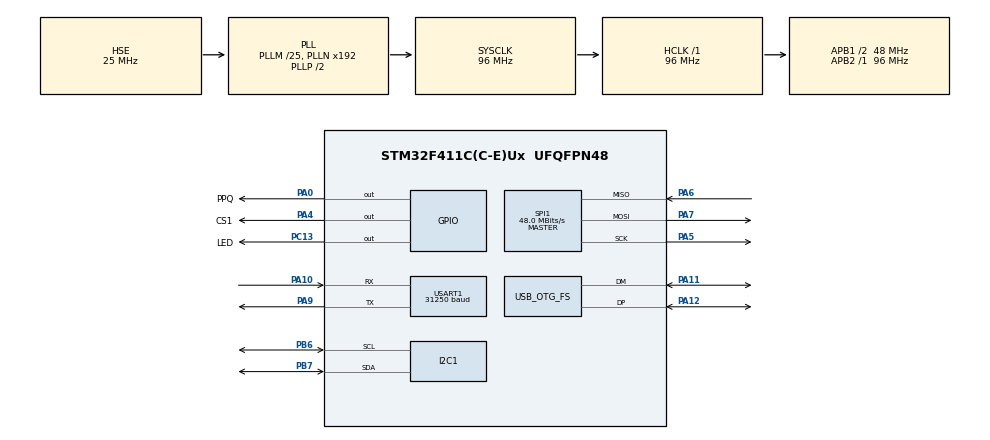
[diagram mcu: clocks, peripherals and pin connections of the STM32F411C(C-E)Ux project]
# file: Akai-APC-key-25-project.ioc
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Dma.Request0=SPI1_RX
Dma.Request1=SPI1_TX
Dma.SPI1_RX.0.Direction=DMA_PERIPH_TO_MEMORY
Dma.SPI1_RX.0.FIFOMode=DMA_FIFOMODE_DISABLE
Dma.SPI1_RX.0.Instance=DMA2_Stream0
Dma.SPI1_RX.0.MemDataAlignment=DMA_MDATAALIGN_BYTE
Dma.SPI1_RX.0.MemInc=DMA_MINC_ENABLE
Dma.SPI1_RX.0.Mode=DMA_CIRCULAR
Dma.SPI1_RX.0.PeriphDataAlignment=DMA_PDATAALIGN_BYTE
Dma.SPI1_RX.0.PeriphInc=DMA_PINC_DISABLE
Dma.SPI1_RX.0.Priority=DMA_PRIORITY_LOW
Dma.SPI1_TX.1.Direction=DMA_MEMORY_TO_PERIPH
Dma.SPI1_TX.1.FIFOMode=DMA_FIFOMODE_DISABLE
Dma.SPI1_TX.1.Instance=DMA2_Stream2
Dma.SPI1_TX.1.MemDataAlignment=DMA_MDATAALIGN_BYTE
Dma.SPI1_TX.1.MemInc=DMA_MINC_ENABLE
Dma.SPI1_TX.1.Mode=DMA_CIRCULAR
Dma.SPI1_TX.1.PeriphDataAlignment=DMA_PDATAALIGN_BYTE
Dma.SPI1_TX.1.PeriphInc=DMA_PINC_DISABLE
Dma.SPI1_TX.1.Priority=DMA_PRIORITY_LOW
Mcu.Family=STM32F4
Mcu.Name=STM32F411C(C-E)Ux
Mcu.Package=UFQFPN48
NVIC.DMA2_Stream0_IRQn=true\:0\:0\:false\:false\:true\:false\:true\:true
NVIC.DMA2_Stream2_IRQn=true\:0\:0\:false\:false\:true\:false\:true\:true
NVIC.OTG_FS_IRQn=true\:0\:0\:false\:false\:true\:false\:true\:true
NVIC.PriorityGroup=NVIC_PRIORITYGROUP_4
NVIC.TIM2_IRQn=true\:0\:0\:false\:false\:true\:true\:true\:true
PA0-WKUP.GPIO_Label=PPQ
PA0-WKUP.GPIO_ModeDefaultOutputPP=GPIO_MODE_OUTPUT_OD
PA0-WKUP.GPIO_PuPd=GPIO_NOPULL
PA0-WKUP.Signal=GPIO_Output
PA10.Mode=Asynchronous
PA10.Signal=USART1_RX
PA11.Mode=Device_Only
PA11.Signal=USB_OTG_FS_DM
PA12.Mode=Device_Only
PA12.Signal=USB_OTG_FS_DP
PA13.Mode=Trace_Asynchronous_SW
PA13.Signal=SYS_JTMS-SWDIO
PA14.Mode=Trace_Asynchronous_SW
PA14.Signal=SYS_JTCK-SWCLK
PA4.GPIO_Label=CS1
PA4.Signal=GPIO_Output
PA5.Mode=Full_Duplex_Master
PA5.Signal=SPI1_SCK
PA6.Mode=Full_Duplex_Master
PA6.Signal=SPI1_MISO
PA7.Mode=Full_Duplex_Master
PA7.Signal=SPI1_MOSI
PA9.GPIO_PuPd=GPIO_PULLUP
PA9.Mode=Asynchronous
PA9.Signal=USART1_TX
PB3.Mode=Trace_Asynchronous_SW
PB3.Signal=SYS_JTDO-SWO
PB6.GPIO_Pu=GPIO_PULLUP
PB6.Mode=I2C
PB6.Signal=I2C1_SCL
PB7.GPIO_Pu=GPIO_PULLUP
PB7.Mode=I2C
PB7.Signal=I2C1_SDA
PC13-ANTI_TAMP.GPIO_Label=LED
PC13-ANTI_TAMP.Signal=GPIO_Output
PC14-OSC32_IN.Mode=LSE-External-Oscillator
PC14-OSC32_IN.Signal=RCC_OSC32_IN
PC15-OSC32_OUT.Mode=LSE-External-Oscillator
PC15-OSC32_OUT.Signal=RCC_OSC32_OUT
PH0\ -\ OSC_IN.Mode=HSE-External-Oscillator
PH0\ -\ OSC_IN.Signal=RCC_OSC_IN
PH1\ -\ OSC_OUT.Mode=HSE-External-Oscillator
PH1\ -\ OSC_OUT.Signal=RCC_OSC_OUT
ProjectManager.HeapSize=0x200
ProjectManager.StackSize=0x400
ProjectManager.TargetToolchain=STM32CubeIDE
RCC.48MHZClocksFreq_Value=48000000
RCC.AHBFreq_Value=96000000
RCC.APB1CLKDivider=RCC_HCLK_DIV2
RCC.APB1Freq_Value=48000000
RCC.APB1TimFreq_Value=96000000
RCC.APB2Freq_Value=96000000
RCC.APB2TimFreq_Value=96000000
RCC.CortexFreq_Value=96000000
RCC.HCLKFreq_Value=96000000
RCC.HSE_VALUE=25000000
RCC.HSI_VALUE=16000000
RCC.PLLM=25
RCC.SYSCLKFreq_VALUE=96000000
RCC.SYSCLKSource=RCC_SYSCLKSOURCE_PLLCLK
RCC.VCOOutputFreq_Value=192000000
SPI1.CalculateBaudRate=48.0 MBits/s
SPI1.Direction=SPI_DIRECTION_2LINES
SPI1.Mode=SPI_MODE_MASTER
SPI1.VirtualType=VM_MASTER
TIM2.AutoReloadPreload=TIM_AUTORELOAD_PRELOAD_ENABLE
TIM2.Period=5000
TIM2.Prescaler=191
TIM2.TIM_MasterOutputTrigger=TIM_TRGO_RESET
USART1.BaudRate=31250
USART1.VirtualMode=VM_ASYNC
USB_DEVICE.CLASS_NAME_FS=CDC
USB_DEVICE.VirtualMode=Cdc
USB_DEVICE.VirtualModeFS=Cdc_FS
USB_OTG_FS.VirtualMode=Device_Only
VP_TIM2_VS_ClockSourceINT.Mode=Internal
VP_USB_DEVICE_VS_USB_DEVICE_CDC_FS.Mode=CDC_FS
board=custom

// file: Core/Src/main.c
/* USER CODE BEGIN Header */
/**
  ******************************************************************************
  * @file           : main.c
  * @brief          : Main program body
  ******************************************************************************
  * @attention
  *
  * Copyright (c) 2024 STMicroelectronics.
  * All rights reserved.
  *
  * This software is licensed under terms that can be found in the LICENSE file
  * in the root directory of this software component.
  * If no LICENSE file comes with this software, it is provided AS-IS.
  *
  ******************************************************************************
  */
/* USER CODE END Header */
#include "main.h"
#include "usb_device.h"

/* USER CODE BEGIN Includes */
#include"string.h"
#include "stdio.h"
#include <stdlib.h>
#include "string.h"
#include "variables.h"
#include "usbd_midi.h"
extern USBD_HandleTypeDef hUsbDeviceFS;

// change HID to MIDI in usb_device.c  and usbd_conf.c     !!!!
//#include "usbd_cdc.h"
//#include "usbd_cdc_if.h"
#include "midi.h"
#include "notes.h"
#include "lcd.h"
/* USER CODE END Includes */

I2C_HandleTypeDef hi2c1;

SPI_HandleTypeDef hspi1;
DMA_HandleTypeDef hdma_spi1_rx;
DMA_HandleTypeDef hdma_spi1_tx;

TIM_HandleTypeDef htim2;

UART_HandleTypeDef huart1;

/* USER CODE BEGIN PV */

#include "flash.h"

int _write(int le, char *ptr, int len)
{
int DataIdx;
for(DataIdx = 0; DataIdx < len; DataIdx++)
{
ITM_SendChar(*ptr++);
}
return len;
}
/* USER CODE END PV */

void SystemClock_Config(void);
static void MX_GPIO_Init(void);
static void MX_DMA_Init(void);
static void MX_USART1_UART_Init(void);
static void MX_I2C1_Init(void);
static void MX_SPI1_Init(void);
static void MX_TIM2_Init(void);
/* USER CODE BEGIN PFP */

void note_replace(uint8_t note_replace);
//void USB_CDC_RxHandler(uint8_t*, uint32_t);
void patch_screen(void);
void buttons_store(void);
void flash_write(void);
void flash_read(void);
void panic_delete(void);
//void stop_start(void);
void note_off(void);
void arrows(void);
void cdc_send(void);
void all_notes_off(void);
void play_muting(void);

void lcd_start(void);
void lcd_print(uint8_t  pos , char print);  // position 0-39 , character
void lcd_menu_vars(void);
void nrpn_send(void);
void loop_screen(void);// loop screen change
void note_buttons(void); // all note functions from buttons
void loop_lfo(void);
void settings_storage(void);
void pattern_settings(void);
void USBD_MIDI_DataInHandler(uint8_t *usb_rx_buffer, uint8_t usb_rx_buffer_length);
void midi_send_control(void); // runs midi send when needed
void midi_extras(void);
void flash_page_write(uint8_t page_select,uint8_t* data);
uint8_t pattern_scale_process(uint8_t value, uint8_t selected_sound ); // midi in to scaled note

/* USER CODE END PFP */

int main(void)
{

  /* MCU Configuration--------------------------------------------------------*/

  /* Reset of all peripherals, Initializes the Flash interface and the Systick. */
  HAL_Init();

  /* Configure the system clock */
  SystemClock_Config();

  /* Initialize all configured peripherals */
  MX_GPIO_Init();
  MX_DMA_Init();
  MX_USB_DEVICE_Init();
  MX_USART1_UART_Init();
  MX_I2C1_Init();
  MX_SPI1_Init();
  MX_TIM2_Init();
  /* USER CODE BEGIN 2 */
  // USBD_CDC_RegisterInterface(&hUsbDeviceFS, &USBD_Interface_fops_FS);

  HAL_SPI_Init(&hspi1); // write to register hspi2
  HAL_DMA_Init(&hdma_spi1_rx);
  	HAL_DMA_Init(&hdma_spi1_tx);
  //	HAL_I2C_Init(&hi2c1);
  //	HAL_TIM_Base_Start(&htim2);
  //	HAL_TIM_Base_Start(&htim2);
  //	HAL_TIM_PWM_Start(&htim2,TIM_CHANNEL_1);
  //	TIM2->CNT=32000;

    HAL_TIM_Base_Start_IT(&htim2);
   // HAL_UART_Receive_IT(&huart1, &serial1_temp, 1);		// midi irq
    HAL_UART_Receive_DMA(&huart1, serial1_hold2,1);    //
  //CDC_Transmit_FS("Hello\r\n",7);

	printf("hello");

	//  get flash data
	flash_read();
	//other_buttons=1; // nothing
	//uint16_t arr_cnt=(bpm_table[tempo]*1.333333)-1;
	//TIM2->ARR= arr_cnt;   // -1
  	//TIM2->CCR1=(arr_cnt/2) ;   // 90-4v   50-1.5v 20- 0.6v   -1

	//TIM2->CCMR1 = 0;
	lcd_start();

	loop_screen();
	// panic_delete();                 WATCH FOR WEIRD APC SENDS , IE UP ARROW PLUS BOTTOM ROW 3 SENDS CONSTANT CONTROLLER 50 INFO  ?
  /* USER CODE END 2 */

  /* Infinite loop */
  /* USER CODE BEGIN WHILE */
  while (1)
  {

	 // HAL_GPIO_WritePin(PPQ_GPIO_Port, PPQ_Pin, (ppq_send|1));

	 // uint16_t step_temp=0;
	 // uint8_t seq_step_mod;
	  uint8_t selected_scene=scene_buttons[0];

	  if (seq_pos_mem!=seq_pos){     // runs  8 times /step  , control sequencer counting

		  green_position[0]=seq_step; green_position[1]=seq_step;
		  cdc_send(); // all midi compiled for send  8/per note

		  if (serial_len)   HAL_UART_Transmit(&huart1,serial_out,serial_len,100); // uart send disable if no info, sent seq_pos,
		  //maybe dma if needed for now ok (2ms total for send )

		  // USB_send();

		  if (keyboard[0])  {    // keyboard play live

			  uint8_t note_flag=144;
			  if (keyboard[0]>>7)  note_flag=128;

			  last_key=keyboard[0]&127;   //store key
			  keyboard[1]=last_key;

			  if (midi_channel_list[selected_scene]==9)   // drums send
			  {  midi_extra_cue[0]=(note_flag+9);         // use drumlist for now

			  midi_extra_cue[1]=(drum_list[selected_scene]);midi_extra_cue[2]=127; midi_extra_cue[28]=midi_extra_cue[28]+3;   // send midi

			  keyboard[0]=0;}
			  else  {midi_extra_cue[0]=note_flag+midi_channel_list[selected_scene];  midi_extra_cue[1]=((last_key+32))&127 ;
			  midi_extra_cue[2]=127; midi_extra_cue[28]=midi_extra_cue[28]+3;keyboard[0]=0;}  // send normal then keyboard off

		  }

			 seq_pos_mem=seq_pos;
		 } // end of seq_pos ,fast step 8/step

	  if ((s_temp) != (seq_pos>>3)) {			// runs on note steps 0-15

		  	  midi_extras();
			  pattern_settings();

			  if ((!seq_pos)&& (!pause)) seq_step_long=(seq_step_long+1)&31;    // this needs to be main clock

			  play_position=seq_step_long;
			  if ((seq_step_long&31)==0)   play_position=(play_position+1)&31;  // normal screen leave alone ,too fast
			  if ((seq_step_long&3)==0) {play_position=(play_position>>2)<<2;} // reset

			  if ((s_temp&15)==14) { loop_lfo();lfo_full_send_enable=1;} // run lfo at end of a bar , 2 notes long to send 16 settings

			  ////

			  if ((send) && shift) {  all_notes_off(); flash_read();  button_states[send_button]=0; send=0; }   // reload everything from flash

			  uint8_t crap[64];
			  memcpy (crap,cdc_buffer,12);

		//////////////PRINT///////////////////
			  for (i=0;i<8;i++){  // i=scene

				//  printf(" %d",crap[i] );

				  printf(" %d",pitch_selected_drum_value[i]);
				//  printf(" %d",pitch_list_for_drums[pitch_selected_for_drums[i]+(i*8)]);

				 // printf(" %d",loop_screen_note_on[(selected_scene*32)+i] );
				 // printf(" ds=%d ",drum_store_one[i+(scene_buttons[0]*4)] );

			  }

			  printf("   %d",s_temp );
			  printf("   %d",pattern_loop);
			  printf("   %d",pattern_select );

			  printf("   %d",midi_cue_time[midi_cue_count] );
			  printf("   %d",midi_cue_count );
			  printf(" \n" );
		//	  printf(" incoming=%d ",square_buttons_list[test_byte[11]]);  printf(" step=%d ",seq_step_list[0]);
			//  printf(" cdc=%d\n ",cdc_len_temp);

 				// print section

 				if (lcd_downcount) { lcd_message();lcd_downcount--; }

 				 lcd_menu_vars();
 				 lcd_mem();
 				//		printf(" %d ", midi_cue[3]);
 				//		printf(" %d\n ", midi_cue[6]);

 				  HAL_GPIO_WritePin(LED_GPIO_Port, LED_Pin,led_blink);
 				  led_blink=!led_blink;

 				  flash_write(); // works only if button pressed , not during pause ?
 				  note_off_enable=1;
 				//  arrows();
 				  if (!pause) seq_step = seq_pos>> 3; else seq_step=seq_step;

 				  s_temp = seq_pos>>3;

 			}   // blink steps , end of s_temp

/*

 	  if ((seq_pos == 64) &&(mtc_tick)) {    // only if mtc is incoming

 		  if (mtc_tick > 64) {
 				timer_value = timer_value - (mtc_tick - 64);
 				mtc_tick = seq_pos;
 			} // chase mtc ,reasonable
 			if (mtc_tick < 64) {
 				timer_value = timer_value + (64 - mtc_tick);
 				mtc_tick = seq_pos;
 			}
 			if ((timer_value > 700) | (timer_value < 300))
 				timer_value = 512; // fix in case

 		} else seq_enable=1;  // if no mtc then just run sequencer

 	  if (serial1_hold[5])	{//printf("%d",timer_value);printf(" %d ",seq_pos);printf(" %d \n",mtc_tick);

 		  if (serial1_hold[0]>247) realtime=serial1_hold[0];
 		  else {realtime=0;message_cue[message_counter]=serial1_hold[0];message_counter++; }
 		  if(message_counter>2) message_counter=0;   // set to typical midi for now

 		  if (realtime==248 ) {realtime=0;
 		  if(mtc_tick==191) mtc_tick=0; else mtc_tick++;realtime=0;}   // 8/4 or 32/16
 		//  if (realtime==248 ) {mtc_tick++;realtime=0;printf(" %d",seq_pos);printf(" %d \n",mtc_tick);} //always running

 		  if (realtime==250 )
 					  {seq_enable=1;realtime=0;seq_pos=0;seq_step=0;mtc_tick=0;} // reset to 0 on real time message :start
 		  if (realtime==252)
 							  {seq_enable=0;
 							  send_buffer[5]=0;  // clear last step
 							  realtime=0; } // reset to 0 on real time message :stop

 		//  note_handling(serial1_hold[0]);note_replace(note_replace_enable);    // notes generate after each !!!
 		 // 	note_handling(serial1_hold[1]);note_replace(note_replace_enable);
 		 // 	note_handling(serial1_hold[2]);note_replace(note_replace_enable);

 	  serial1_hold[5]=0;serial1_hold[0]=0;
 	  //HAL_UART_Receive_IT(&huart1,&serial1_temp,1); // finish 4 bytes and blink , reset irq

 	  }  // end of midi in
*/

		  if( (USBD_MIDI_GetState(&hUsbDeviceFS) == MIDI_IDLE) )  USB_send();  // fast

		  if (cdc_buffer[0] | cdc_buffer[3] |   cdc_buffer[6]                   ) {      //  when cdc buffer incoming, need change
			  if (cdc_buffer[6] )cdc_start=6;
			  if (cdc_buffer[3] )cdc_start=3;
			  if (cdc_buffer[0] )cdc_start=0;
			  if (first_message) {first_message=0;  memset(other_buttons_hold,9,70);} // only runs after getting a midi message from usb

 		 // printf(" 1=%d ",cdc_buffer[0] ); printf(" 2=%d ",cdc_buffer[1] ); printf(" 3=%d \n ",cdc_buffer[2] );

 		  buttons_store();   // only runs after receive

 		  if (pause==5)  { all_notes_off();}    // runs only once during pause

 	  }  // end of cdc message

    /* USER CODE END WHILE */

    /* USER CODE BEGIN 3 */
  } // while loop
  /* USER CODE END 3 */
}

void SystemClock_Config(void)
{
  RCC_OscInitTypeDef RCC_OscInitStruct = {0};
  RCC_ClkInitTypeDef RCC_ClkInitStruct = {0};

  /** Configure the main internal regulator output voltage
  */
  __HAL_RCC_PWR_CLK_ENABLE();
  __HAL_PWR_VOLTAGESCALING_CONFIG(PWR_REGULATOR_VOLTAGE_SCALE1);

  /** Initializes the RCC Oscillators according to the specified parameters
  * in the RCC_OscInitTypeDef structure.
  */
  RCC_OscInitStruct.OscillatorType = RCC_OSCILLATORTYPE_HSE;
  RCC_OscInitStruct.HSEState = RCC_HSE_ON;
  RCC_OscInitStruct.PLL.PLLState = RCC_PLL_ON;
  RCC_OscInitStruct.PLL.PLLSource = RCC_PLLSOURCE_HSE;
  RCC_OscInitStruct.PLL.PLLM = 25;
  RCC_OscInitStruct.PLL.PLLN = 192;
  RCC_OscInitStruct.PLL.PLLP = RCC_PLLP_DIV2;
  RCC_OscInitStruct.PLL.PLLQ = 4;
  if (HAL_RCC_OscConfig(&RCC_OscInitStruct) != HAL_OK)
  {
    Error_Handler();
  }

  /** Initializes the CPU, AHB and APB buses clocks
  */
  RCC_ClkInitStruct.ClockType = RCC_CLOCKTYPE_HCLK|RCC_CLOCKTYPE_SYSCLK
                              |RCC_CLOCKTYPE_PCLK1|RCC_CLOCKTYPE_PCLK2;
  RCC_ClkInitStruct.SYSCLKSource = RCC_SYSCLKSOURCE_PLLCLK;
  RCC_ClkInitStruct.AHBCLKDivider = RCC_SYSCLK_DIV1;
  RCC_ClkInitStruct.APB1CLKDivider = RCC_HCLK_DIV2;
  RCC_ClkInitStruct.APB2CLKDivider = RCC_HCLK_DIV1;

  if (HAL_RCC_ClockConfig(&RCC_ClkInitStruct, FLASH_LATENCY_3) != HAL_OK)
  {
    Error_Handler();
  }
}

static void MX_I2C1_Init(void)
{

  hi2c1.Instance = I2C1;
  hi2c1.Init.ClockSpeed = 100000;
  hi2c1.Init.DutyCycle = I2C_DUTYCYCLE_2;
  hi2c1.Init.OwnAddress1 = 0;
  hi2c1.Init.AddressingMode = I2C_ADDRESSINGMODE_7BIT;
  hi2c1.Init.DualAddressMode = I2C_DUALADDRESS_DISABLE;
  hi2c1.Init.OwnAddress2 = 0;
  hi2c1.Init.GeneralCallMode = I2C_GENERALCALL_DISABLE;
  hi2c1.Init.NoStretchMode = I2C_NOSTRETCH_DISABLE;
  if (HAL_I2C_Init(&hi2c1) != HAL_OK)
  {
    Error_Handler();
  }

}

static void MX_SPI1_Init(void)
{

  /* SPI1 parameter configuration*/
  hspi1.Instance = SPI1;
  hspi1.Init.Mode = SPI_MODE_MASTER;
  hspi1.Init.Direction = SPI_DIRECTION_2LINES;
  hspi1.Init.DataSize = SPI_DATASIZE_8BIT;
  hspi1.Init.CLKPolarity = SPI_POLARITY_LOW;
  hspi1.Init.CLKPhase = SPI_PHASE_1EDGE;
  hspi1.Init.NSS = SPI_NSS_SOFT;
  hspi1.Init.BaudRatePrescaler = SPI_BAUDRATEPRESCALER_2;
  hspi1.Init.FirstBit = SPI_FIRSTBIT_MSB;
  hspi1.Init.TIMode = SPI_TIMODE_DISABLE;
  hspi1.Init.CRCCalculation = SPI_CRCCALCULATION_DISABLE;
  hspi1.Init.CRCPolynomial = 10;
  if (HAL_SPI_Init(&hspi1) != HAL_OK)
  {
    Error_Handler();
  }

}

static void MX_TIM2_Init(void)
{

  TIM_ClockConfigTypeDef sClockSourceConfig = {0};
  TIM_MasterConfigTypeDef sMasterConfig = {0};

  htim2.Instance = TIM2;
  htim2.Init.Prescaler = 191;
  htim2.Init.CounterMode = TIM_COUNTERMODE_UP;
  htim2.Init.Period = 5000;
  htim2.Init.ClockDivision = TIM_CLOCKDIVISION_DIV1;
  htim2.Init.AutoReloadPreload = TIM_AUTORELOAD_PRELOAD_ENABLE;
  if (HAL_TIM_Base_Init(&htim2) != HAL_OK)
  {
    Error_Handler();
  }
  sClockSourceConfig.ClockSource = TIM_CLOCKSOURCE_INTERNAL;
  if (HAL_TIM_ConfigClockSource(&htim2, &sClockSourceConfig) != HAL_OK)
  {
    Error_Handler();
  }
  sMasterConfig.MasterOutputTrigger = TIM_TRGO_RESET;
  sMasterConfig.MasterSlaveMode = TIM_MASTERSLAVEMODE_DISABLE;
  if (HAL_TIMEx_MasterConfigSynchronization(&htim2, &sMasterConfig) != HAL_OK)
  {
    Error_Handler();
  }

}

static void MX_USART1_UART_Init(void)
{

  huart1.Instance = USART1;
  huart1.Init.BaudRate = 31250;
  huart1.Init.WordLength = UART_WORDLENGTH_8B;
  huart1.Init.StopBits = UART_STOPBITS_1;
  huart1.Init.Parity = UART_PARITY_NONE;
  huart1.Init.Mode = UART_MODE_TX_RX;
  huart1.Init.HwFlowCtl = UART_HWCONTROL_NONE;
  huart1.Init.OverSampling = UART_OVERSAMPLING_16;
  if (HAL_UART_Init(&huart1) != HAL_OK)
  {
    Error_Handler();
  }

}

static void MX_DMA_Init(void)
{

  /* DMA controller clock enable */
  __HAL_RCC_DMA2_CLK_ENABLE();

  /* DMA interrupt init */
  /* DMA2_Stream0_IRQn interrupt configuration */
  HAL_NVIC_SetPriority(DMA2_Stream0_IRQn, 0, 0);
  HAL_NVIC_EnableIRQ(DMA2_Stream0_IRQn);
  /* DMA2_Stream2_IRQn interrupt configuration */
  HAL_NVIC_SetPriority(DMA2_Stream2_IRQn, 0, 0);
  HAL_NVIC_EnableIRQ(DMA2_Stream2_IRQn);

}

static void MX_GPIO_Init(void)
{
  GPIO_InitTypeDef GPIO_InitStruct = {0};

  /* GPIO Ports Clock Enable */
  __HAL_RCC_GPIOC_CLK_ENABLE();
  __HAL_RCC_GPIOH_CLK_ENABLE();
  __HAL_RCC_GPIOA_CLK_ENABLE();
  __HAL_RCC_GPIOB_CLK_ENABLE();

  /*Configure GPIO pin Output Level */
  HAL_GPIO_WritePin(LED_GPIO_Port, LED_Pin, GPIO_PIN_RESET);

  /*Configure GPIO pin Output Level */
  HAL_GPIO_WritePin(GPIOA, PPQ_Pin|CS1_Pin, GPIO_PIN_RESET);

  /*Configure GPIO pin : LED_Pin */
  GPIO_InitStruct.Pin = LED_Pin;
  GPIO_InitStruct.Mode = GPIO_MODE_OUTPUT_PP;
  GPIO_InitStruct.Pull = GPIO_NOPULL;
  GPIO_InitStruct.Speed = GPIO_SPEED_FREQ_LOW;
  HAL_GPIO_Init(LED_GPIO_Port, &GPIO_InitStruct);

  /*Configure GPIO pin : PPQ_Pin */
  GPIO_InitStruct.Pin = PPQ_Pin;
  GPIO_InitStruct.Mode = GPIO_MODE_OUTPUT_OD;
  GPIO_InitStruct.Pull = GPIO_NOPULL;
  GPIO_InitStruct.Speed = GPIO_SPEED_FREQ_LOW;
  HAL_GPIO_Init(PPQ_GPIO_Port, &GPIO_InitStruct);

  /*Configure GPIO pin : CS1_Pin */
  GPIO_InitStruct.Pin = CS1_Pin;
  GPIO_InitStruct.Mode = GPIO_MODE_OUTPUT_PP;
  GPIO_InitStruct.Pull = GPIO_NOPULL;
  GPIO_InitStruct.Speed = GPIO_SPEED_FREQ_LOW;
  HAL_GPIO_Init(CS1_GPIO_Port, &GPIO_InitStruct);

}

/* USER CODE BEGIN 4 */
void HAL_UART_RxCpltCallback(UART_HandleTypeDef *huart)
{
	if (huart->Instance == USART1) { 	// midi irq

//		if (serial1_hold2[0]==248)  {	memcpy(serial1_hold,serial1_hold2,4)  ;   // copy mem

	//	serial1_hold[5]=1;seq_pos++;   HAL_UART_Receive_DMA(&huart1, serial1_hold2,1); }

//		else

		memcpy(serial1_hold,serial1_hold2,1)  ;   // copy mem

		serial1_hold[5]=1;   HAL_UART_Receive_DMA(&huart1, serial1_hold2,1);
		//HAL_UART_Receive_IT(&huart1,&serial1_temp,1);}  //enable read  or reset irq

	}

	//memcpy((serial_hold+8),(serial_hold2+8),8);
}

void HAL_TIM_PeriodElapsedCallback(TIM_HandleTypeDef *htim)    // unreliable
	{
		if(TIM2==htim->Instance){     // send spi to display , ok

			//button_send_trigger=(button_send_trigger+1)&255; // sets interval for buttons

			if (!skip_enable)HAL_GPIO_TogglePin(GPIOA,PPQ_Pin);

			if (!skip_enable) skip_enable=skip_setting; else {skip_enable--;} // 48 ppq here

			if (ppq_count>5) {ppq_count=0; seq_pos=(seq_pos+1)&127;}   // 32 ppq
			 ppq_count++;
			 if (ppq_send>95) ppq_send=0;  else ppq_send++;   // 96 ppq

		}
	}
void HAL_SPI_TxRxCpltCallback(SPI_HandleTypeDef * hspi)   // when finished sending
	{

	   if (SPI1==hspi->Instance) {				// keep it short if possible

	       HAL_GPIO_WritePin(CS1_GPIO_Port, CS1_Pin, 1);  //  end
	       flash_flag=2;

	       //    if (sample_dma_counter==0)		{  memcpy(flash_read_block3,flash_read_block2+4,1024);  flash_flag=2;  }
	    //   if (sample_dma_counter==1) sample_dma_counter=3;
	 			   //			      if (sample_dma_counter==2) sample_dma_counter=4;
	  //     if (sample_dma_counter==3)   {memcpy(flash_read_block,flash_read_block2+4,1024);sampler_1k_load(sample_flash_address[0]);sample_dma_counter=2;return;}
	  //     if (sample_dma_counter==4)			{  memcpy(flash_read_block3,flash_read_block2+4,1024); sampler_1k_load(sample_flash_address[1]); sample_dma_counter=1; }
	//	if (sample_dma_counter)   {memcpy(flash_read_block,flash_read_block2+4,1024); sampler_1k_load(sample_flash_address[1]); sample_dma_counter=0;flash_flag=2; }

	   }
	}

void stop_start(void)             {
  //  if (TIM10==htim ->Instance)
    if  (stop_toggle ==1) {HAL_TIM_Base_Stop_IT(&htim2);stop_toggle =2;}
    if  (stop_toggle ==4) {HAL_TIM_Base_Start_IT(&htim2);stop_toggle=0;}

}
void all_notes_off(void){
	uint8_t data[48];
	for (i=0;i<16;i++){
		data[i*3]=176+i;
		data[(i*3)+1]=123;
		data[(i*3)+2]=0;
	}
	 HAL_UART_Transmit(&huart1,data,48,100); //   send all notes off on serial
	 HAL_Delay(100);
	 pause=1;
	 //CDC_Transmit_FS(data+3, 45);

}

/* USER CODE END 4 */

void Error_Handler(void)
{
  __disable_irq();
  while (1)
  {
  }
}
